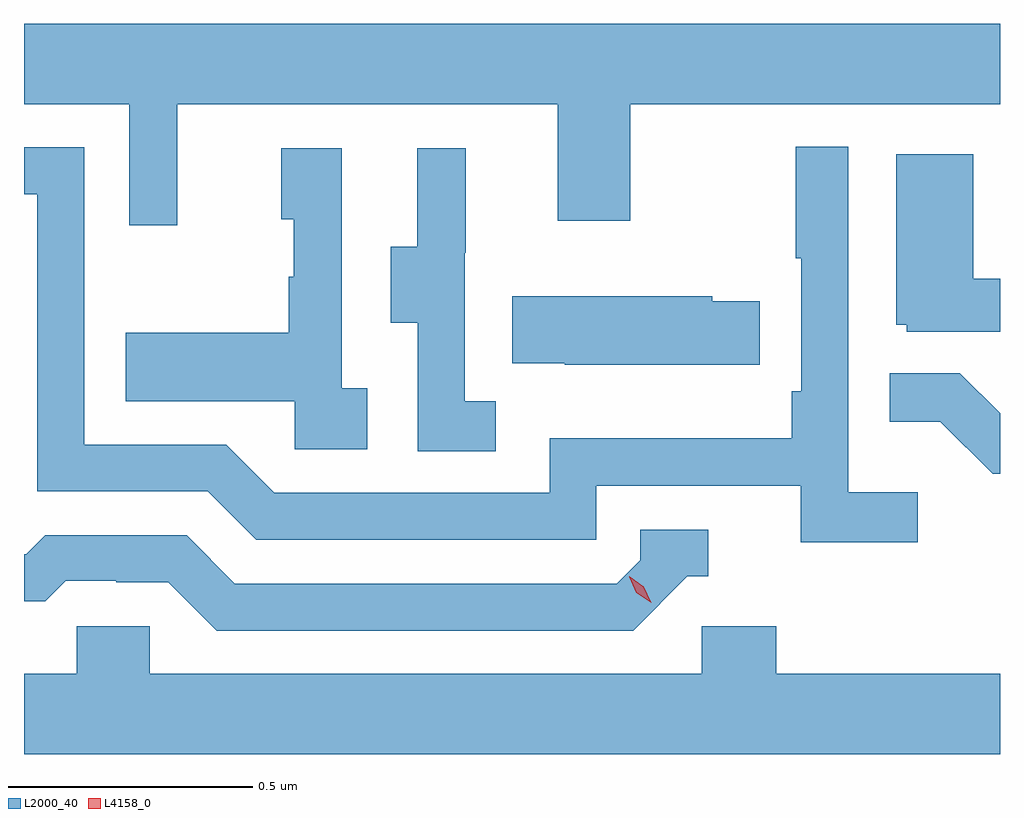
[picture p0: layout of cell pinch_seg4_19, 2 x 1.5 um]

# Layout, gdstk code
import gdstk
lib = gdstk.Library(unit=1e-6, precision=1e-09)
def P(c, l, *ps):  # polygons
    for p in ps: c.add(gdstk.Polygon(p, *l))
L2000_40 = (2000, 40)
L4158_0 = (4158, 0)

pinch_seg4_19 = lib.new_cell('pinch_seg4_19')
P(pinch_seg4_19, L2000_40, [(1105.151,824.792),(1105.931,824.792),(1105.931,824.553),(1106.079,824.553),(1106.079,824.792),(1106.837,824.792),(1106.837,824.956),(1104.837,824.956),(1104.837,824.792),(1105.053,824.792),(1105.053,824.544),(1105.151,824.544)],
  [(1106.668,823.996),(1106.526,823.996),(1106.526,824.704),(1106.418,824.704),(1106.418,824.476),(1106.43,824.476),(1106.43,824.203),(1106.41,824.203),(1106.41,824.107),(1105.914,824.107),(1105.914,823.995),(1105.35,823.995),(1105.251,824.094),(1104.96,824.094),(1104.96,824.703),(1104.837,824.703),(1104.837,824.607),(1104.864,824.607),(1104.864,823.998),(1105.214,823.998),(1105.313,823.899),(1106.01,823.899),(1106.01,824.01),(1106.429,824.01),(1106.429,823.894),(1106.668,823.894)],
  [(1105.54,824.21),(1105.488,824.21),(1105.488,824.701),(1105.364,824.701),(1105.364,824.556),(1105.39,824.556),(1105.39,824.438),(1105.38,824.438),(1105.38,824.323),(1105.045,824.323),(1105.045,824.183),(1105.392,824.183),(1105.392,824.085),(1105.54,824.085)],
  [(1105.804,824.183),(1105.74,824.183),(1105.74,824.487),(1105.742,824.487),(1105.742,824.701),(1105.643,824.701),(1105.643,824.499),(1105.589,824.499),(1105.589,824.344),(1105.644,824.344),(1105.644,824.08),(1105.804,824.08)],
  [(1106.837,824.434),(1106.782,824.434),(1106.782,824.689),(1106.624,824.689),(1106.624,824.34),(1106.646,824.34),(1106.646,824.325),(1106.837,824.325)],
  [(1106.345,824.388),(1106.247,824.388),(1106.247,824.398),(1105.837,824.398),(1105.837,824.261),(1105.945,824.261),(1105.945,824.258),(1106.345,824.258)],
  [(1106.837,824.158),(1106.755,824.24),(1106.611,824.24),(1106.611,824.141),(1106.715,824.141),(1106.822,824.034),(1106.837,824.034)],
  [(1106.196,823.824),(1106.239,823.824),(1106.239,823.92),(1106.1,823.92),(1106.1,823.857),(1106.052,823.809),(1105.269,823.809),(1105.17,823.908),(1104.881,823.908),(1104.842,823.869),(1104.837,823.869),(1104.837,823.773),(1104.881,823.773),(1104.923,823.815),(1105.026,823.815),(1105.026,823.812),(1105.133,823.812),(1105.232,823.713),(1106.085,823.713)],
  [(1106.837,823.624),(1106.378,823.624),(1106.378,823.722),(1106.226,823.722),(1106.226,823.624),(1105.095,823.624),(1105.095,823.722),(1104.945,823.722),(1104.945,823.624),(1104.837,823.624),(1104.837,823.46),(1106.837,823.46)])
P(pinch_seg4_19, L4158_0, [(1106.122,823.77),(1106.092,823.79),(1106.077,823.823),(1106.077,823.824),(1106.077,823.824),(1106.107,823.803),(1106.122,823.77),(1106.122,823.77)])

lib.write_gds('pinch_seg4_19.gds')
